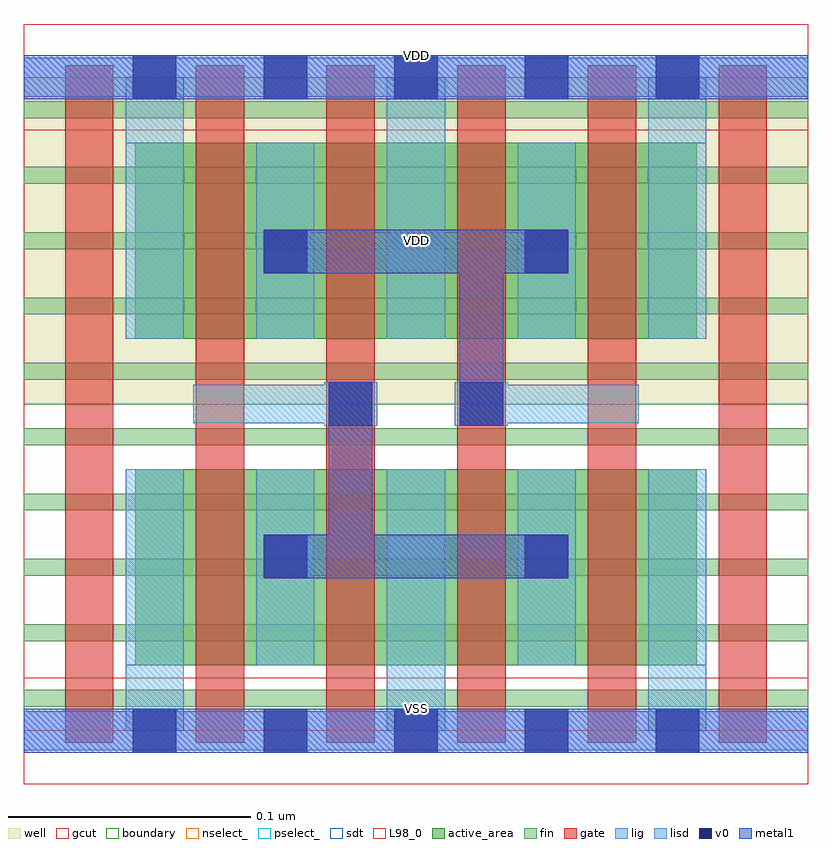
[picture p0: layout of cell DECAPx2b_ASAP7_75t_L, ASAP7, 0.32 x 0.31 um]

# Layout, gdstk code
import gdstk
lib = gdstk.Library(unit=1e-6, precision=2.5e-10)
def R(c, l, rs):  # rectangles x0, y0, x1, y1
    for r in rs: c.add(gdstk.rectangle(r[:2], r[2:], *l))
def A(c, l, x, y, w, h, nx, ny, dx, dy):  # array of equal rectangles
    R(c, l, [(x+i*dx, y+j*dy, x+i*dx+w, y+j*dy+h) for i in range(nx) for j in range(ny)])
def P(c, l, *ps):  # polygons
    for p in ps: c.add(gdstk.Polygon(p, *l))
well = (1, 0)
fin = (2, 0)
gate = (7, 0)
gcut = (10, 0)
active_area = (11, 0)
nselect_ = (12, 0)
pselect_ = (13, 0)
lig = (16, 0)
lisd = (17, 0)
v0 = (18, 0)
metal1 = (19, 0)
sdt = (88, 0)
L98_0 = (98, 0)
boundary = (100, 0)

decapx2b_asap7_75t_l = lib.new_cell('DECAPx2b_ASAP7_75t_L')
R(decapx2b_asap7_75t_l, well, [(0,0.135,0.324,0.27)])
A(decapx2b_asap7_75t_l, fin, 0, 0.01, 0.324, 0.007, 1, 10, 0, 0.027)
A(decapx2b_asap7_75t_l, gate, 0.017, -0.005, 0.02, 0.28, 6, 1, 0.054, 0)
R(decapx2b_asap7_75t_l, gcut, [(0,-0.022,0.324,0.022), (0,0.248,0.324,0.292)])
R(decapx2b_asap7_75t_l, active_area, [(0.046,0.027,0.278,0.108), (0.046,0.162,0.278,0.243)])
R(decapx2b_asap7_75t_l, nselect_, [(0,0,0.324,0.135)])
R(decapx2b_asap7_75t_l, pselect_, [(0,0.135,0.324,0.27)])
R(decapx2b_asap7_75t_l, lig, [(0,-0.008,0.324,0.008), (0.124,0.126,0.146,0.144), (0.178,0.126,0.2,0.144), (0.07,0.127,0.146,0.143), (0.178,0.127,0.254,0.143), (0,0.262,0.324,0.278)])
R(decapx2b_asap7_75t_l, lisd, [(0.042,0,0.066,0.108), (0.042,0,0.066,0.108), (0.15,0,0.174,0.108), (0.15,0,0.174,0.108), (0.258,0,0.282,0.108), (0.258,0,0.282,0.108), (0.096,0.027,0.12,0.108), (0.204,0.027,0.228,0.108), (0.042,0.162,0.066,0.27), (0.042,0.162,0.066,0.27), (0.096,0.162,0.12,0.243), (0.15,0.162,0.174,0.27), (0.15,0.162,0.174,0.27), (0.204,0.162,0.228,0.243), (0.258,0.162,0.282,0.27), (0.258,0.162,0.282,0.27)])
A(decapx2b_asap7_75t_l, v0, 0.045, -0.009, 0.018, 0.018, 5, 2, 0.054, 0.27)
R(decapx2b_asap7_75t_l, v0, [(0.099,0.063,0.117,0.081), (0.207,0.063,0.225,0.081), (0.126,0.126,0.144,0.144), (0.18,0.126,0.198,0.144), (0.099,0.189,0.117,0.207), (0.207,0.189,0.225,0.207)])
R(decapx2b_asap7_75t_l, metal1, [(0,-0.009,0.324,0.009), (0.099,0.063,0.117,0.081), (0.207,0.063,0.225,0.081), (0.126,0.126,0.144,0.144), (0.18,0.126,0.198,0.144), (0.099,0.189,0.117,0.207), (0.207,0.189,0.225,0.207), (0,0.261,0.324,0.279)])
P(decapx2b_asap7_75t_l, metal1, [(0.144,0.144),(0.126,0.144),(0.126,0.081),(0.099,0.081),(0.099,0.063),(0.225,0.063),(0.225,0.081),(0.144,0.081)],
  [(0.099,0.189),(0.18,0.189),(0.18,0.126),(0.198,0.126),(0.198,0.189),(0.225,0.189),(0.225,0.207),(0.099,0.207)])
A(decapx2b_asap7_75t_l, sdt, 0.042, 0.027, 0.024, 0.081, 3, 2, 0.054, 0.135)
A(decapx2b_asap7_75t_l, sdt, 0.15, 0.027, 0.024, 0.081, 3, 2, 0.054, 0.135)
R(decapx2b_asap7_75t_l, sdt, [(0.042,0.027,0.066,0.108), (0.258,0.027,0.282,0.108), (0.042,0.162,0.066,0.243), (0.258,0.162,0.282,0.243)])
R(decapx2b_asap7_75t_l, L98_0, [(0,0,0.324,0.27)])
R(decapx2b_asap7_75t_l, boundary, [(0,0,0.324,0.27)])
decapx2b_asap7_75t_l.add(gdstk.Label('VDD', (0.162,0.2025), layer=1, texttype=251))
decapx2b_asap7_75t_l.add(gdstk.Label('VSS', (0.162,-0.0675), layer=3, texttype=251))
decapx2b_asap7_75t_l.add(gdstk.Label('VSS', (0.162,0.009), layer=19, texttype=251))
decapx2b_asap7_75t_l.add(gdstk.Label('VDD', (0.162,0.279), layer=19, texttype=251))

lib.write_gds('DECAPx2b_ASAP7_75t_L.gds')
